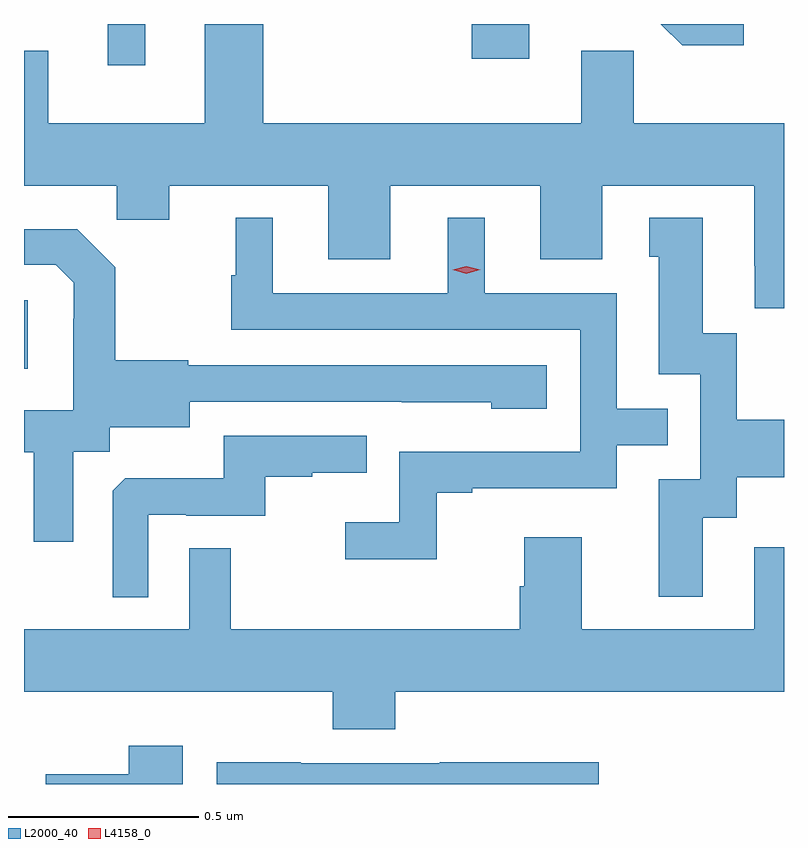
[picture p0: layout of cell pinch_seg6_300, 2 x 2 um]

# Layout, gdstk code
import gdstk
lib = gdstk.Library(unit=1e-6, precision=1e-09)
def R(c, l, rs):  # rectangles x0, y0, x1, y1
    for r in rs: c.add(gdstk.rectangle(r[:2], r[2:], *l))
def P(c, l, *ps):  # polygons
    for p in ps: c.add(gdstk.Polygon(p, *l))
L2000_40 = (2000, 40)
L4158_0 = (4158, 0)

pinch_seg6_300 = lib.new_cell('pinch_seg6_300')
R(pinch_seg6_300, L2000_40, [(866.373,958.842,866.383,959.022), (866.594,959.64,866.692,959.749), (867.551,959.658,867.703,959.749)])
P(pinch_seg6_300, L2000_40, [(868.267,959.749),(868.049,959.749),(868.105,959.693),(868.267,959.693)],
  [(867.978,959.678),(867.839,959.678),(867.839,959.488),(867.002,959.488),(867.002,959.749),(866.849,959.749),(866.849,959.488),(866.437,959.488),(866.437,959.678),(866.373,959.678),(866.373,959.324),(866.617,959.324),(866.617,959.234),(866.755,959.234),(866.755,959.324),(867.173,959.324),(867.173,959.13),(867.337,959.13),(867.337,959.324),(867.731,959.324),(867.731,959.13),(867.895,959.13),(867.895,959.324),(868.295,959.324),(868.295,959.113),(868.296,959.113),(868.296,959.001),(868.373,959.001),(868.373,959.488),(867.978,959.488)],
  [(868.159,958.45),(868.249,958.45),(868.249,958.556),(868.373,958.556),(868.373,958.708),(868.248,958.708),(868.248,958.935),(868.159,958.935),(868.159,959.239),(868.019,959.239),(868.019,959.136),(868.043,959.136),(868.043,958.827),(868.152,958.827),(868.152,958.551),(868.043,958.551),(868.043,958.242),(868.159,958.242)],
  [(867.459,958.515),(867.553,958.515),(867.553,958.527),(867.933,958.527),(867.933,958.641),(868.067,958.641),(868.067,958.737),(867.933,958.737),(867.933,959.04),(867.586,959.04),(867.586,959.239),(867.488,959.239),(867.488,959.04),(867.028,959.04),(867.028,959.239),(866.93,959.239),(866.93,959.088),(866.919,959.088),(866.919,958.944),(867.837,958.944),(867.837,958.623),(867.36,958.623),(867.36,958.438),(867.219,958.438),(867.219,958.34),(867.459,958.34)],
  [(866.503,958.624),(866.598,958.624),(866.598,958.688),(866.809,958.688),(866.809,958.755),(867.367,958.755),(867.367,958.754),(867.603,958.754),(867.603,958.736),(867.748,958.736),(867.748,958.851),(866.805,958.851),(866.805,958.864),(866.613,958.864),(866.613,959.109),(866.513,959.209),(866.373,959.209),(866.373,959.115),(866.457,959.115),(866.504,959.068),(866.504,958.973),(866.502,958.973),(866.502,958.732),(866.373,958.732),(866.373,958.622),(866.399,958.622),(866.399,958.386),(866.503,958.386)],
  [(866.7,958.458),(866.8,958.458),(866.8,958.455),(867.008,958.455),(867.008,958.557),(867.131,958.557),(867.131,958.568),(867.275,958.568),(867.275,958.665),(866.898,958.665),(866.898,958.553),(866.639,958.553),(866.607,958.521),(866.607,958.241),(866.7,958.241)],
  [(867.35,957.992),(868.373,957.992),(868.373,958.372),(868.295,958.372),(868.295,958.156),(867.841,958.156),(867.841,958.399),(867.689,958.399),(867.689,958.269),(867.677,958.269),(867.677,958.156),(866.917,958.156),(866.917,958.37),(866.808,958.37),(866.808,958.156),(866.373,958.156),(866.373,957.992),(867.185,957.992),(867.185,957.893),(867.35,957.893)],
  [(866.791,957.85),(866.648,957.85),(866.648,957.775),(866.43,957.775),(866.43,957.749),(866.791,957.749)],
  [(867.886,957.806),(867.467,957.806),(867.467,957.804),(867.101,957.804),(867.101,957.806),(866.88,957.806),(866.88,957.749),(867.886,957.749)])
P(pinch_seg6_300, L4158_0, [(867.537,959.092),(867.501,959.102),(867.501,959.102),(867.501,959.102),(867.537,959.112),(867.573,959.102),(867.573,959.102),(867.573,959.102)])

lib.write_gds('pinch_seg6_300.gds')
